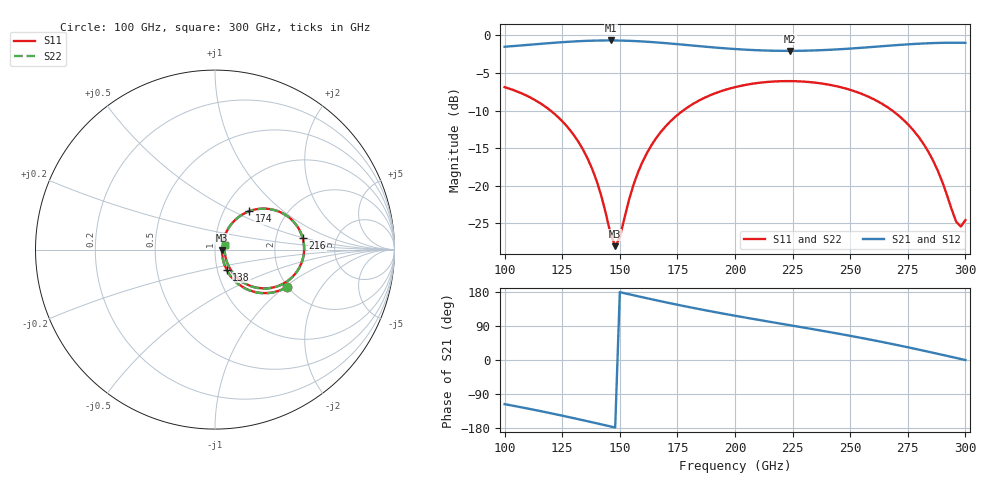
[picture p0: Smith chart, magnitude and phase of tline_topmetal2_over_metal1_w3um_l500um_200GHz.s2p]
#  GHZ S DB R 50
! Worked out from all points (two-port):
!   101 points, 100 GHz to 300 GHz, reference 50 ohm
!   highest |S21| = -0.67 dB at 146 GHz (marker M1); lowest = -2.1 dB at 224 GHz (marker M2)
!   |S21| within 3 dB of the highest: start of sweep to end of sweep
!   lowest |S11| = -28.0 dB at 148 GHz (marker M3), VSWR 1.08, Z = 54.1 - j0.321 ohm
!   |S11| at or under -10 dB: 119.9 GHz to 177.5 GHz (57.54 GHz wide, 38.7 % of centre); 268.3 GHz to end of sweep
!   |S22| runs from -28.3 to -6.1 dB; largest |S21 - S12| = 9.7e-14
!   S11 on the Smith chart (normalised r, x): 100 GHz: 1.99, -1.04; 138 GHz: 1.11, -0.25; 174 GHz: 1.31, +0.61; 216 GHz: 2.85, +0.49; 300 GHz: 1.11, +0.05
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100  -6.88 -27.2  -1.50 -116.5  -1.50 -116.5  -6.88 -27.4
120  -10.01 -47.7  -1.01 -140.5  -1.01 -140.5  -10.02 -47.9
134  -15.17 -59.3  -0.74 -158.9  -0.74 -158.9  -15.18 -59.7
138  -17.75 -59.8  -0.70 -164.4  -0.70 -164.4  -17.77 -60.4
142  -21.38 -55.2  -0.68 -169.9  -0.68 -169.9  -21.43 -56.0
146  -26.41 -32.3  -0.67 -175.4  -0.67 -175.4  -26.56 -33.2
148  -28.04 -4.3  -0.68 -178.2  -0.68 -178.2  -28.26 -4.6
150  -26.89 25.6  -0.69 179.1  -0.69 179.1  -27.06 26.1
154  -21.87 52.0  -0.72 173.5  -0.72 173.5  -21.92 52.4
158  -18.14 57.5  -0.78 168.1  -0.78 168.1  -18.16 57.8
168  -12.77 53.6  -0.98 154.8  -0.98 154.8  -12.78 53.6
174  -10.86 48.3  -1.13 147.1  -1.13 147.1  -10.86 48.3
200  -6.89 22.8  -1.81 116.8  -1.81 116.8  -6.89 22.7
216  -6.15 7.6  -2.03 99.9  -2.03 99.9  -6.15 7.4
224  -6.08 0.1  -2.05 91.6  -2.05 91.6  -6.08 -0.1
234  -6.26 -9.3  -2.00 81.2  -2.00 81.2  -6.26 -9.5
252  -7.44 -26.6  -1.71 61.5  -1.71 61.5  -7.44 -26.8
268  -9.94 -41.9  -1.34 42.5  -1.34 42.5  -9.94 -42.2
284  -15.52 -52.5  -1.04 21.7  -1.04 21.7  -15.52 -52.8
296  -24.78 -18.7  -0.97 5.4  -0.97 5.4  -24.73 -18.8
298  -25.44 2.7  -0.98 2.7  -0.98 2.7  -25.38 2.4
300  -24.58 23.4  -0.99 -0.1  -0.99 -0.1  -24.53 22.9
